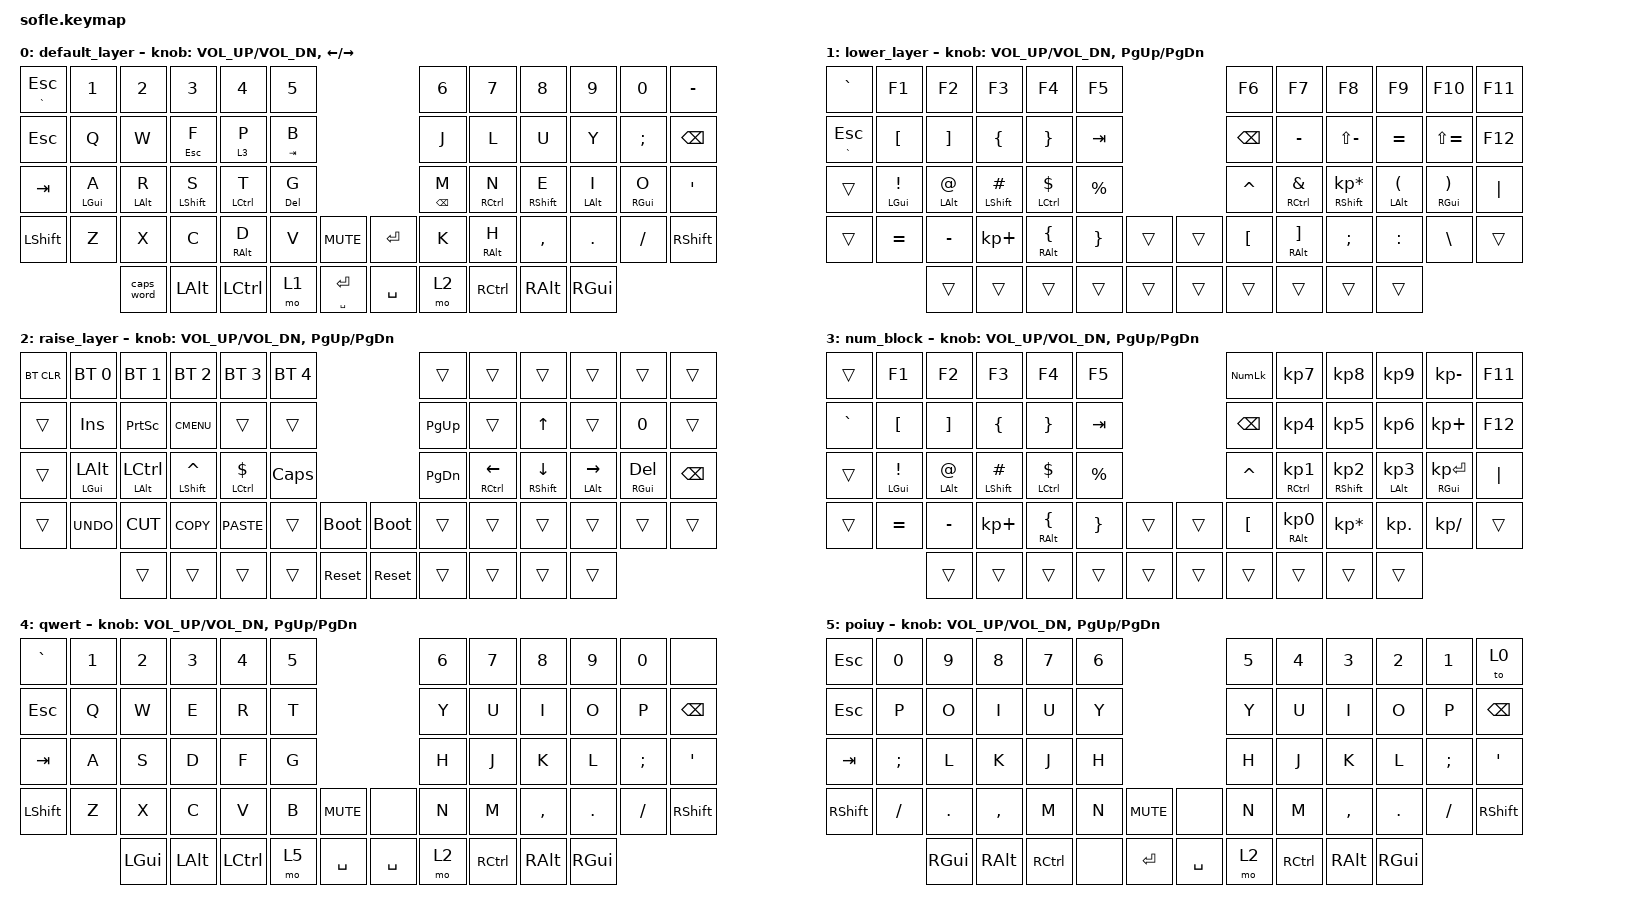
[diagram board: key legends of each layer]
/*
 * Copyright (c) 2020 The ZMK Contributors
 *
 * SPDX-License-Identifier: MIT
 */

#include <behaviors.dtsi>
#include <dt-bindings/zmk/keys.h>
#include <dt-bindings/zmk/bt.h>

/ {
    behaviors {
        hotap: balanced_homerow_mods {
            compatible = "zmk,behavior-hold-tap";
            label = "HOMEROW_MODS";
            #binding-cells = <2>;
            tapping-term-ms = <200>;    // <---[[moderate duration]]
            quick-tap-ms = <0>;
            global-quick-tap;
            flavor = "tap-preferred";
            bindings = <&kp>, <&kp>;
        };
        motap: layer_tap {
            compatible = "zmk,behavior-hold-tap";
            label = "LAYER_OR_TAP";
            #binding-cells = <2>;
            tapping-term-ms = <200>;    // <---[[moderate duration]]
            quick-tap-ms = <0>;
            global-quick-tap;
            flavor = "tap-preferred";
            bindings = <&mo>, <&kp>;
        };
    };
    combos {
        compatible = "zmk,combos";
        combo_esc {
            timeout-ms = <50>;
            key-positions = <2 3 4>;
            bindings = <&to 4>;
        };
    };
    keymap {
        compatible = "zmk,keymap";

        default_layer {   // 0
            bindings = <
&hotap GRAVE ESC   &kp N1     &kp N2     &kp N3     &kp N4      &kp N5
        &kp N6     &kp N7    &kp N8    &kp N9     &kp N0     &kp MINUS

&kp ESC       &kp Q      &kp W        &hotap ESC F        &motap 3 P         &hotap TAB B
        &kp J      &kp L       &kp U         &kp Y        &kp SEMI     &kp BSPC

&kp TAB       &hotap LGUI A  &hotap LALT R &hotap LSHIFT S        &hotap LCTRL T  &hotap DEL G
        &hotap BSPC M      &hotap RCTRL N &hotap RSHIFT E       &hotap LALT I        &hotap RGUI O        &kp SQT

&kp LSHFT     &kp Z      &kp X        &kp C    &hotap RALT D       &kp V    &kp C_MUTE
        &kp RET    &kp K      &hotap RALT H     &kp COMMA     &kp DOT    &kp FSLH   &kp RSHFT

        &caps_word     &kp LALT     &kp LCTRL     &mo 1      &hotap SPACE RET
                &kp SPACE     &mo 2      &kp RCTRL     &kp RALT      &kp RGUI
            >;

            sensor-bindings = <&inc_dec_kp C_VOL_UP C_VOL_DN &inc_dec_kp LEFT RIGHT>;
        };

        lower_layer {   // 1
            bindings = <
&kp GRAVE    &kp F1    &kp F2    &kp F3    &kp F4    &kp F5
        &kp F6    &kp F7   &kp F8     &kp F9    &kp F10   &kp F11

&hotap GRAVE ESC &kp LBKT  &kp RBKT   &kp LBRC    &kp RBRC    &kp TAB
        &kp BSPC    &kp MINUS   &kp LS(MINUS) &kp EQUAL    &kp LS(EQUAL)    &kp F12

&trans    &hotap LGUI EXCL  &hotap LALT AT    &hotap LSHIFT HASH    &hotap LCTRL DLLR  &kp PRCNT
        &kp CARET &hotap RCTRL AMPS &hotap RSHIFT KP_MULTIPLY &hotap LALT LPAR  &hotap RGUI RPAR  &kp PIPE

&trans    &kp EQUAL &kp MINUS &kp KP_PLUS &hotap RALT LBRC  &kp RBRC  &trans
        &trans &kp LBKT  &hotap RALT RBKT &kp SEMI        &kp COLON &kp BSLH  &trans

        &trans    &trans      &trans    &trans    &trans
                &trans &trans    &trans   &trans          &trans
            >;

            sensor-bindings = <&inc_dec_kp C_VOL_UP C_VOL_DN &inc_dec_kp PG_UP PG_DN>;
        };

        raise_layer {   // 2
            bindings = <
&bt BT_CLR &bt BT_SEL 0 &bt BT_SEL 1 &bt BT_SEL 2 &bt BT_SEL 3 &bt BT_SEL 4
        &trans    &trans    &trans   &trans    &trans  &trans

&trans    &kp INS      &kp PSCRN    &kp K_CMENU  &trans       &trans
        &kp PG_UP &trans    &kp UP   &trans    &kp N0  &trans

&trans    &hotap LGUI LALT      &hotap LALT LCTRL    &hotap LSHIFT CARET    &hotap LCTRL DLLR &kp CAPS
        &kp PG_DN   &hotap RCTRL LEFT &hotap RSHIFT DOWN &hotap LALT RIGHT  &hotap RGUI DEL  &kp BSPC

&trans    &kp K_UNDO   &kp K_CUT    &kp K_COPY   &kp K_PASTE  &trans  &bootloader
        &bootloader  &trans    &trans    &trans   &trans    &trans  &trans

        &trans       &trans       &trans       &trans  &sys_reset
                &sys_reset  &trans    &trans    &trans   &trans
            >;

            sensor-bindings = <&inc_dec_kp C_VOL_UP C_VOL_DN &inc_dec_kp PG_UP PG_DN>;
        };
        num_block {   // 3
            bindings = <
&trans    &kp F1    &kp F2    &kp F3      &kp F4    &kp F5
        &kp KP_NUMLOCK    &kp KP_N7   &kp KP_N8          &kp KP_N9    &kp KP_MINUS   &kp F11

&kp GRAVE &kp LBKT  &kp RBKT   &kp LBRC    &kp RBRC    &kp TAB
        &kp BSPC    &kp KP_N4   &kp KP_N5 &kp KP_N6    &kp KP_PLUS &kp F12

&trans    &hotap LGUI EXCL  &hotap LALT AT    &hotap LSHIFT HASH    &hotap LCTRL DLLR  &kp PRCNT
        &kp CARET &hotap RCTRL KP_N1 &hotap RSHIFT KP_N2 &hotap LALT KP_N3  &hotap RGUI KP_ENTER &kp PIPE

&trans    &kp EQUAL &kp MINUS &kp KP_PLUS &hotap RALT LBRC  &kp RBRC  &trans
        &trans &kp LBKT  &hotap RALT KP_N0 &kp KP_ASTERISK &kp KP_DOT        &kp KP_DIVIDE  &trans

        &trans    &trans      &trans    &trans    &trans
            &trans &trans    &trans   &trans          &trans
            >;

            sensor-bindings = <&inc_dec_kp C_VOL_UP C_VOL_DN &inc_dec_kp PG_UP PG_DN>;
        };
        qwert {   // 4
            bindings = <
&kp GRAVE &kp N1 &kp N2   &kp N3   &kp N4    &kp N5                      &kp N6 &kp N7    &kp N8    &kp N9   &kp N0   &none
&kp ESC   &kp Q  &kp W    &kp E    &kp R     &kp T                       &kp Y  &kp U     &kp I     &kp O    &kp P    &kp BSPC
&kp TAB   &kp A  &kp S    &kp D    &kp F     &kp G                       &kp H  &kp J     &kp K     &kp L    &kp SEMI &kp SQT
&kp LSHFT &kp Z  &kp X    &kp C    &kp V     &kp B  &kp C_MUTE &none     &kp N  &kp M     &kp COMMA &kp DOT  &kp FSLH &kp RSHFT
                 &kp LGUI &kp LALT &kp LCTRL &mo 5  &kp SPACE    &kp SPACE &mo 2  &kp RCTRL &kp RALT  &kp RGUI
            >;

            sensor-bindings = <&inc_dec_kp C_VOL_UP C_VOL_DN &inc_dec_kp PG_UP PG_DN>;
        };
        poiuy {   // 5
            bindings = <
&kp ESC &kp N0 &kp N9   &kp N8   &kp N7    &kp N6                      &kp N5 &kp N4    &kp N3    &kp N2   &kp N1   &to 0
&kp ESC   &kp P  &kp O    &kp I    &kp U     &kp Y                       &kp Y  &kp U     &kp I     &kp O    &kp P    &kp BSPC
&kp TAB   &kp SEMI  &kp L    &kp K    &kp J     &kp H                       &kp H  &kp J     &kp K     &kp L    &kp SEMI &kp SQT
&kp RSHFT &kp FSLH  &kp DOT    &kp COMMA    &kp M     &kp N  &kp C_MUTE &none     &kp N  &kp M     &kp COMMA &kp DOT  &kp FSLH &kp RSHFT
                 &kp RGUI &kp RALT &kp RCTRL &none  &kp RET    &kp SPACE &mo 2  &kp RCTRL &kp RALT  &kp RGUI
            >;

            sensor-bindings = <&inc_dec_kp C_VOL_UP C_VOL_DN &inc_dec_kp PG_UP PG_DN>;
        };
    };
};
